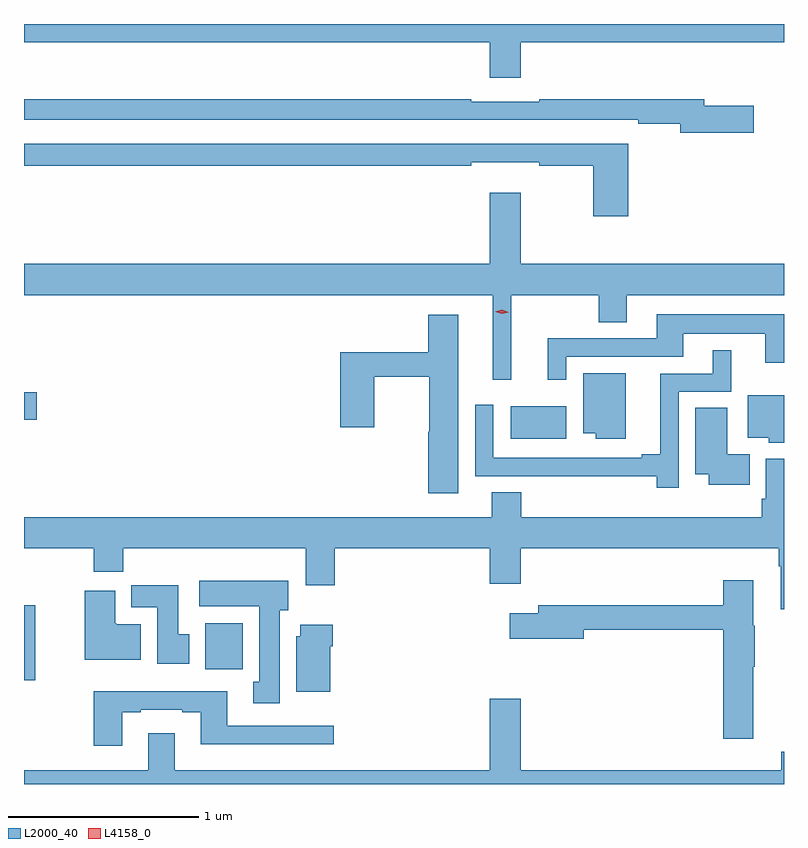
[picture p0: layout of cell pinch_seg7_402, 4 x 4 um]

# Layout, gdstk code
import gdstk
lib = gdstk.Library(unit=1e-6, precision=1e-09)
def R(c, l, rs):  # rectangles x0, y0, x1, y1
    for r in rs: c.add(gdstk.rectangle(r[:2], r[2:], *l))
def P(c, l, *ps):  # polygons
    for p in ps: c.add(gdstk.Polygon(p, *l))
L2000_40 = (2000, 40)
L4158_0 = (4158, 0)

pinch_seg7_402 = lib.new_cell('pinch_seg7_402')
R(pinch_seg7_402, L2000_40, [(522.197,1031.889,522.256,1032.283), (523.151,1031.948,523.348,1032.19), (524.759,1033.16,525.052,1033.33), (522.197,1033.259,522.265,1033.406)])
P(pinch_seg7_402, L2000_40, [(524.812,1035.248),(526.197,1035.248),(526.197,1035.343),(522.197,1035.343),(522.197,1035.248),(524.648,1035.248),(524.648,1035.06),(524.812,1035.06)],
  [(526.039,1034.913),(525.778,1034.913),(525.778,1034.947),(524.908,1034.947),(524.908,1034.934),(524.552,1034.934),(524.552,1034.947),(522.197,1034.947),(522.197,1034.838),(525.43,1034.838),(525.43,1034.818),(525.65,1034.818),(525.65,1034.771),(526.039,1034.771)],
  [(525.377,1034.712),(522.197,1034.712),(522.197,1034.596),(524.552,1034.596),(524.552,1034.615),(524.908,1034.615),(524.908,1034.596),(525.194,1034.596),(525.194,1034.331),(525.377,1034.331)],
  [(524.812,1034.455),(524.648,1034.455),(524.648,1034.08),(522.197,1034.08),(522.197,1033.916),(524.663,1033.916),(524.663,1033.47),(524.762,1033.47),(524.762,1033.916),(525.223,1033.916),(525.223,1033.774),(525.37,1033.774),(525.37,1033.916),(526.197,1033.916),(526.197,1034.08),(524.812,1034.08)],
  [(525.051,1033.593),(525.667,1033.593),(525.667,1033.712),(526.097,1033.712),(526.097,1033.56),(526.197,1033.56),(526.197,1033.816),(525.527,1033.816),(525.527,1033.689),(524.954,1033.689),(524.954,1033.47),(525.051,1033.47)],
  [(524.482,1033.813),(524.324,1033.813),(524.324,1033.615),(523.862,1033.615),(523.862,1033.221),(524.04,1033.221),(524.04,1033.486),(524.329,1033.486),(524.329,1033.197),(524.324,1033.197),(524.324,1032.873),(524.482,1032.873)],
  [(525.642,1033.407),(525.919,1033.407),(525.919,1033.627),(525.821,1033.627),(525.821,1033.503),(525.545,1033.503),(525.545,1033.079),(525.449,1033.079),(525.449,1033.059),(524.667,1033.059),(524.667,1033.339),(524.571,1033.339),(524.571,1032.963),(524.896,1032.963),(524.896,1032.962),(525.526,1032.962),(525.526,1032.903),(525.642,1032.903)],
  [(525.364,1033.504),(525.14,1033.504),(525.14,1033.19),(525.206,1033.19),(525.206,1033.16),(525.364,1033.16)],
  [(526.197,1033.39),(526.007,1033.39),(526.007,1033.166),(526.116,1033.166),(526.116,1033.139),(526.197,1033.139)],
  [(526.016,1033.078),(525.898,1033.078),(525.898,1033.322),(525.731,1033.322),(525.731,1032.974),(525.8,1032.974),(525.8,1032.917),(526.016,1032.917)],
  [(522.197,1032.584),(522.563,1032.584),(522.563,1032.46),(522.719,1032.46),(522.719,1032.584),(523.679,1032.584),(523.679,1032.39),(523.832,1032.39),(523.832,1032.584),(524.648,1032.584),(524.648,1032.396),(524.812,1032.396),(524.812,1032.584),(526.169,1032.584),(526.169,1032.488),(526.181,1032.488),(526.181,1032.264),(526.197,1032.264),(526.197,1033.054),(526.101,1033.054),(526.101,1032.844),(526.081,1032.844),(526.081,1032.748),(524.813,1032.748),(524.813,1032.878),(524.66,1032.878),(524.66,1032.748),(522.197,1032.748)],
  [(526.036,1031.959),(526.044,1031.959),(526.044,1032.177),(526.036,1032.177),(526.036,1032.415),(525.878,1032.415),(525.878,1032.283),(524.903,1032.283),(524.903,1032.241),(524.754,1032.241),(524.754,1032.107),(525.142,1032.107),(525.142,1032.154),(525.878,1032.154),(525.878,1031.58),(526.036,1031.58)],
  [(523.543,1032.258),(523.588,1032.258),(523.588,1032.412),(523.119,1032.412),(523.119,1032.278),(523.436,1032.278),(523.436,1031.882),(523.403,1031.882),(523.403,1031.769),(523.543,1031.769)],
  [(523.066,1032.132),(523.009,1032.132),(523.009,1032.39),(522.761,1032.39),(522.761,1032.272),(522.899,1032.272),(522.899,1031.976),(523.066,1031.976)],
  [(522.811,1032.184),(522.682,1032.184),(522.682,1032.19),(522.676,1032.19),(522.676,1032.361),(522.518,1032.361),(522.518,1031.996),(522.811,1031.996)],
  [(523.81,1032.068),(523.823,1032.068),(523.823,1032.18),(523.652,1032.18),(523.652,1032.12),(523.631,1032.12),(523.631,1031.828),(523.81,1031.828)],
  [(522.715,1031.721),(522.811,1031.721),(522.811,1031.733),(523.031,1031.733),(523.031,1031.721),(523.127,1031.721),(523.127,1031.552),(523.828,1031.552),(523.828,1031.649),(523.267,1031.649),(523.267,1031.83),(522.563,1031.83),(522.563,1031.544),(522.715,1031.544)],
  [(526.197,1031.512),(526.183,1031.512),(526.183,1031.416),(524.812,1031.416),(524.812,1031.791),(524.648,1031.791),(524.648,1031.416),(522.991,1031.416),(522.991,1031.611),(522.851,1031.611),(522.851,1031.416),(522.197,1031.416),(522.197,1031.343),(526.197,1031.343)])
P(pinch_seg7_402, L4158_0, [(524.711,1033.818),(524.676,1033.828),(524.676,1033.828),(524.676,1033.828),(524.712,1033.838),(524.747,1033.827),(524.747,1033.827),(524.747,1033.827)])

lib.write_gds('pinch_seg7_402.gds')
